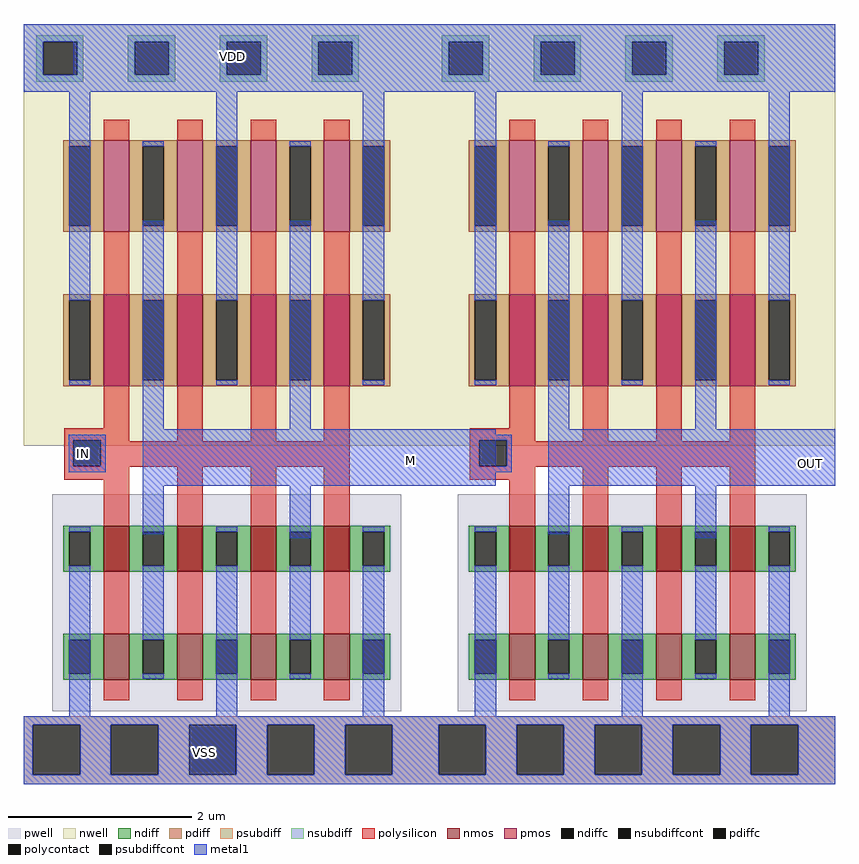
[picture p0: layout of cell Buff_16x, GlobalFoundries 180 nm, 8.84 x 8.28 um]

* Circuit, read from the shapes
.subckt Buff_16x VDD VSS IN OUT M
XM1 M IN VSS VSS nfet_03v3 w=0.5u l=0.28u m=8
XM2 OUT M VSS VSS nfet_03v3 w=0.5u l=0.28u m=8
XM3 M IN VDD VDD pfet_03v3 w=1u l=0.28u m=8
XM4 OUT M VDD VDD pfet_03v3 w=1u l=0.28u m=8
.ends

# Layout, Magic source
magic
tech gf180mcuC
magscale 1 10
<< metal1 >>
rect -52 1278 1549 1412
rect -60 455 12 523
rect 601 420 868 543
rect 1125 420 1608 543
rect 166 -223 300 -89
use Inv_16x  Inv_16x_0
transform 1 0 786 0 1 -71
box -62 -159 822 1497
use Inv_16x  Inv_16x_1
transform 1 0 -98 0 1 -71
box -62 -159 822 1497
<< labels >>
flabel metal1 295 1355 295 1355 0 FreeSans 1600 0 0 0 VDD
port 0 nsew
flabel metal1 233 -161 233 -161 0 FreeSans 1600 0 0 0 VSS
port 1 nsew
flabel metal1 -29 491 -29 491 0 FreeSans 1600 0 0 0 IN
port 2 nsew
flabel metal1 1555 469 1555 469 0 FreeSans 1600 0 0 0 OUT
port 3 nsew
flabel metal1 682 475 682 475 0 FreeSans 1600 0 0 0 M
port 4 nsew
<< end >>

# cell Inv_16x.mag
magic
tech gf180mcuC
magscale 1 10
<< nwell >>
rect -62 1374 822 1497
rect 165 1371 268 1374
rect 365 1371 468 1374
rect 565 1371 668 1374
<< psubdiff >>
rect -62 -30 822 -11
rect -62 -139 -42 -30
rect 61 -139 128 -30
rect 231 -139 298 -30
rect 401 -139 468 -30
rect 571 -139 638 -30
rect 741 -139 822 -30
rect -62 -159 822 -139
<< nsubdiff >>
rect -35 1458 68 1473
rect -35 1386 -20 1458
rect 54 1386 68 1458
rect -35 1371 68 1386
rect 165 1458 268 1473
rect 165 1386 180 1458
rect 254 1386 268 1458
rect 165 1371 268 1386
rect 365 1458 468 1473
rect 365 1386 380 1458
rect 454 1386 468 1458
rect 365 1371 468 1386
rect 565 1458 668 1473
rect 565 1386 580 1458
rect 654 1386 668 1458
rect 565 1371 668 1386
<< psubdiffcont >>
rect -42 -139 61 -30
rect 128 -139 231 -30
rect 298 -139 401 -30
rect 468 -139 571 -30
rect 638 -139 741 -30
<< nsubdiffcont >>
rect -20 1386 54 1458
rect 180 1386 254 1458
rect 380 1386 454 1458
rect 580 1386 654 1458
<< polysilicon >>
rect 112 616 168 1012
rect 26 590 168 616
rect 26 533 46 590
rect 106 588 168 590
rect 272 588 328 1027
rect 432 588 488 1026
rect 592 588 648 1023
rect 106 533 648 588
rect 26 532 648 533
rect 26 504 168 532
rect 112 208 168 504
rect 272 206 328 532
rect 432 211 488 532
rect 592 203 648 532
<< polycontact >>
rect 46 533 106 590
<< metal1 >>
rect -62 1458 822 1497
rect -62 1386 -20 1458
rect 54 1386 180 1458
rect 254 1386 380 1458
rect 454 1386 580 1458
rect 654 1386 822 1458
rect -62 1349 822 1386
rect 37 906 83 1349
rect 197 614 243 1068
rect 357 906 403 1349
rect 517 614 563 1068
rect 677 906 723 1349
rect 36 590 117 602
rect 36 533 46 590
rect 106 533 117 590
rect 36 520 117 533
rect 197 491 822 614
rect 197 385 243 491
rect 517 376 563 491
rect 37 -11 83 306
rect 197 166 243 306
rect 357 -11 403 306
rect 517 166 563 306
rect 677 -11 723 306
rect -62 -30 822 -11
rect -62 -139 -42 -30
rect 61 -139 128 -30
rect 231 -139 298 -30
rect 401 -139 468 -30
rect 571 -139 638 -30
rect 741 -139 822 -30
rect -62 -159 822 -139
use nmos_3p3_MEGST2  nmos_3p3_MEGST2_0
transform 1 0 380 0 1 236
box -380 -236 380 236
use pmos_3p3_MWBYAR  pmos_3p3_MWBYAR_0
transform 1 0 380 0 1 976
box -442 -398 442 398
<< labels >>
flabel nsubdiffcont 410 1422 410 1422 0 FreeSans 800 0 0 0 VDD
port 0 nsew
flabel psubdiffcont 346 -89 346 -89 0 FreeSans 800 0 0 0 VSS
port 1 nsew
flabel polycontact 72 568 72 568 0 FreeSans 800 0 0 0 IN
port 2 nsew
flabel metal1 744 544 744 544 0 FreeSans 800 0 0 0 OUT
port 3 nsew
<< end >>

# cell nmos_3p3_MEGST2: kit device nmos_3p3, w 0.5 l 0.280 m 2 nf 4 diffcov 100 polycov 100 guard 0 glc 0 grc 0 gtc 0 gbc 0 tbcov 100 rlcov 100 topc 0 botc 0 poverlap 0 doverlap 1 lmin 0.28 wmin 0.22 full_metal 0 compatible {nmos_3p3 nmos_6p0 nmos_6p0_nat}

# cell pmos_3p3_MWBYAR: kit device pmos_3p3, w 1 l 0.280 m 2 nf 4 diffcov 100 polycov 100 guard 0 glc 0 grc 0 gtc 0 gbc 0 tbcov 100 rlcov 100 topc 0 botc 0 poverlap 0 doverlap 1 lmin 0.28 wmin 0.22 full_metal 0 compatible {pmos_3p3 pmos_6p0}
